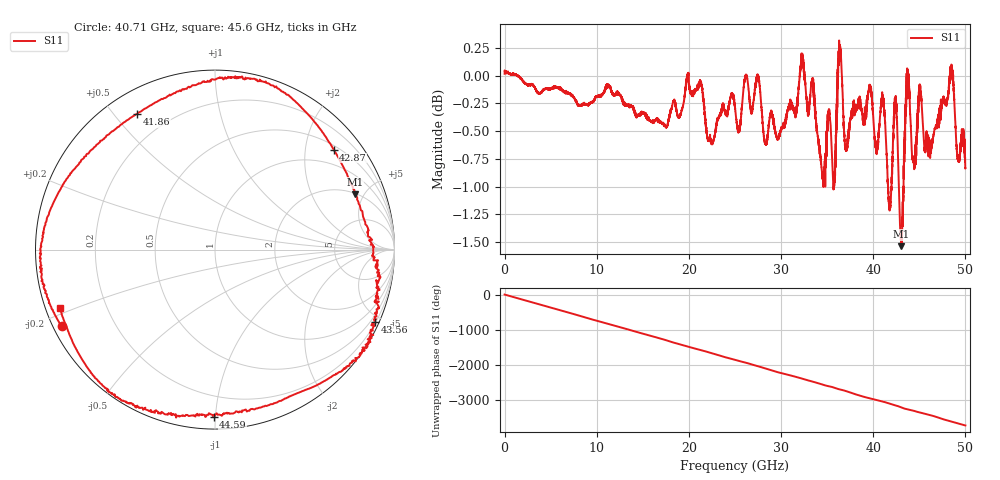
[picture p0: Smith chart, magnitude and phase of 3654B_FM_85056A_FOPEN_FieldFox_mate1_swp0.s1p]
!Created with skrf (http://scikit-rf.org).
# Hz S RI R 50.0
!freq ReS11 ImS11
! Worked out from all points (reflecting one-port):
!   10001 points, 300 kHz to 50 GHz, reference 50 ohm
!   lowest |S11| = -1.5 dB at 43.04 GHz (marker M1), VSWR 11.32, Z = 104 + j214 ohm
!   phase of S11 starts at 0 deg and turns -3733 deg over the sweep
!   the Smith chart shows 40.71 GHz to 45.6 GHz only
!   S11 on the Smith chart (normalised r, x): 40.71 GHz: 0.02, -0.24; 41.86 GHz: 0.09, +0.57; 42.87 GHz: 0.59, +2.62; 43.56 GHz: 0.24, -4.60; 44.59 GHz: 0.07, -0.99; 45.6 GHz: 0.04, -0.18
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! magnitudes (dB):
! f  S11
! 300 kHz  0.0
! 6.25 GHz  -0.1
! 12.5 GHz  -0.2
! 18.75 GHz  -0.4
! 25 GHz  -0.3
! 28.34 GHz  -0.6
! 31.25 GHz  -0.3
! 32.31 GHz  0.1
! 34.51 GHz  -0.9
! 35.19 GHz  -0.3
! 35.71 GHz  -1.0
! 36.39 GHz  0.2
! 36.99 GHz  -0.7
! 37.5 GHz  -0.4
! 40.71 GHz  -0.4
! 41.12 GHz  -0.2
! 41.86 GHz  -1.2
! 42.4 GHz  -0.2
! 42.87 GHz  -1.3
! 43.04 GHz  -1.5
! 43.56 GHz  -0.2
! 43.75 GHz  0.0
! 44.59 GHz  -0.6
! 45.07 GHz  -0.1
! 45.6 GHz  -0.7
! 48.47 GHz  0.0
! 49.18 GHz  -0.8
! 50 GHz  -0.8
